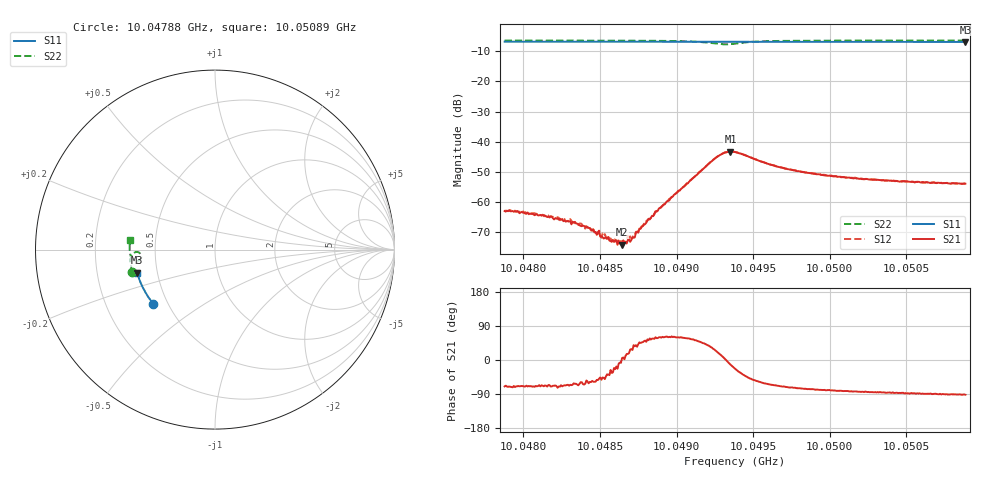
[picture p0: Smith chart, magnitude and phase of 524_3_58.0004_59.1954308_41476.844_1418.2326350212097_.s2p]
#  HZ  S  RI  R  50.00
! Rohde & Schwarz Vector Network Analyzer
! Rohde-Schwarz,ZNB20-2Port,1311601062101988,3.16
! Created: UTC 3/21/2024, 1:13:49 AM
! freq[Hz]  re:S11  im:S11  re:S21  im:S21  re:S12  im:S12  re:S22  im:S22
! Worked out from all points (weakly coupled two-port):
!   401 points, 10.04788 GHz to 10.05089 GHz, reference 50 ohm
!   highest |S21| = -43.23 dB at 10.04935 GHz (marker M1); lowest = -74.1 dB at 10.04864 GHz (marker M2)
!   lowest |S11| = -6.9 dB at 10.05089 GHz (marker M3), VSWR 2.65, Z = 19.2 - j6.24 ohm
!   |S11| at or under -10 dB: nowhere
!   |S22| runs from -7.7 to -6.4 dB; largest |S21 - S12| = 0.00048
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1.0047877e10  -0.3428 -0.3028  0.000247 -0.000669  0.000293 -0.000649  -0.4611 -0.1265
1.004793e10  -0.345 -0.3002  0.000221 -0.000679  0.000279 -0.000647  -0.4619 -0.123
1.0048125e10  -0.353 -0.29  0.00023 -0.000563  0.000274 -0.000557  -0.4649 -0.1095
1.0048336e10  -0.3614 -0.2789  0.000216 -0.00042  0.000215 -0.000393  -0.4673 -0.0946
1.0048381e10  -0.3631 -0.2766  0.000208 -0.000342  0.000228 -0.00037  -0.4677 -0.0911
1.0048441e10  -0.3656 -0.2733  0.000187 -0.000302  0.000188 -0.000283  -0.4685 -0.0867
1.0048516e10  -0.3684 -0.2693  0.000182 -0.000191  0.000203 -0.000223  -0.4691 -0.0809
1.0048561e10  -0.3699 -0.2667  0.000177 -0.000148  0.000207 -0.000132  -0.4693 -0.0773
1.0048644e10  -0.373 -0.2621  0.000196 1.82e-05  0.000187 -5.67e-07  -0.4698 -0.0705
1.0048659e10  -0.3734 -0.2614  0.00021 6.93e-06  0.000204 4.74e-05  -0.4699 -0.0695
1.0048667e10  -0.3738 -0.261  0.000218 4.2e-05  0.000197 8.03e-05  -0.4698 -0.0689
1.0048712e10  -0.3754 -0.2584  0.000234 0.000117  0.000204 0.000153  -0.4699 -0.065
1.0048772e10  -0.3776 -0.2553  0.000268 0.000282  0.000253 0.00031  -0.4697 -0.0596
1.0048885e10  -0.3815 -0.2487  0.000398 0.000681  0.000371 0.00068  -0.469 -0.0489
1.0049246e10  -0.3929 -0.228  0.00458 0.00241  0.00445 0.00272  -0.4274 -0.0145
1.0049306e10  -0.3945 -0.2248  0.00643 0.000763  0.00642 0.00113  -0.4121 -0.0296
1.0049351e10  -0.396 -0.2223  0.00674 -0.00143  0.00683 -0.000961  -0.4125 -0.0475
1.0049381e10  -0.3969 -0.2207  0.00626 -0.00263  0.00641 -0.00221  -0.4191 -0.0569
1.004966e10  -0.4053 -0.2046  0.00145 -0.0036  0.00168 -0.00353  -0.4671 -0.0415
1.0049885e10  -0.4115 -0.1909  0.000683 -0.00291  0.000809 -0.00291  -0.4737 -0.0188
1.0050389e10  -0.4237 -0.1603  0.000169 -0.00226  0.000295 -0.00225  -0.4755 0.0209
1.0050886e10  -0.4333 -0.1292  -5.77e-05 -0.00202  4.21e-05 -0.00201  -0.4727 0.0557
